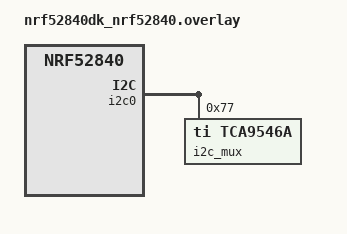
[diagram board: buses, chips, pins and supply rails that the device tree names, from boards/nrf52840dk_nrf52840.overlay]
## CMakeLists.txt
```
# SPDX-License-Identifier: Apache-2.0

cmake_minimum_required(VERSION 3.20.0)
find_package(Zephyr REQUIRED HINTS $ENV{ZEPHYR_BASE})
project(i2c_tca9546a)

FILE(GLOB app_sources src/*.c)
target_sources(app PRIVATE ${app_sources})
```

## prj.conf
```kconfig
CONFIG_ZTEST=y
CONFIG_I2C=y
CONFIG_I2C_TCA9546A=y
```

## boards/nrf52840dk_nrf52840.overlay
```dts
/*
 * Copyright (c) 2020 Teslabs Engineering S.L.
 *
 * SPDX-License-Identifier: Apache-2.0
 */

&i2c0 {
	status = "okay";
	mux: tca9546a@77 {
		compatible = "ti,tca9546a";
		reg = <0x77>;
		status = "okay";
		label = "i2c_mux";
		#address-cells = <1>;
		#size-cells = <0>;

		ch0: mux_i2c@0 {
			label = "mux_dw_0";
			reg = <0>;
			status = "okay";
			#address-cells = <1>;
			#size-cells = <0>;
			compatible = "ti,tca9546a-channel";
		};

		ch1: mux_i2c@1 {
			label = "mux_dw_1";
			reg = <1>;
			status = "okay";
			#address-cells = <1>;
			#size-cells = <0>;
			compatible = "ti,tca9546a-channel";
        };
	};
};

/{
	aliases {
		i2c-channel-0 = &ch0;
		i2c-channel-1 = &ch1;
	};
};
```

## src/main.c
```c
/*
 * Copyright (c) 2016 Intel Corporation
 *
 * SPDX-License-Identifier: Apache-2.0
 */

#include <ztest.h>
#include <device.h>
#include <drivers/i2c.h>

#if DT_NODE_HAS_STATUS(DT_ALIAS(i2c_channel_0), okay)
#define I2C_0_CTRL_NODE_ID      DT_ALIAS(i2c_channel_0)
#define I2C_0_CTRL_DEV_NAME     DT_LABEL(I2C_0_CTRL_NODE_ID)
#else
#error "I2C 0 controller device not found"
#endif

#if DT_NODE_HAS_STATUS(DT_ALIAS(i2c_channel_1), okay)
#define I2C_1_CTRL_NODE_ID      DT_ALIAS(i2c_channel_1)
#define I2C_1_CTRL_DEV_NAME     DT_LABEL(I2C_1_CTRL_NODE_ID)
#else
#error "I2C 1 controller device not found"
#endif




/**
 * @brief Test Asserts
 *
 * This test verifies various assert macros provided by ztest.
 *
 */
static void test_tca9546a(void)
{
	uint8_t buff[1];

	const struct device *i2c0 = DEVICE_DT_GET(I2C_0_CTRL_NODE_ID);
	const struct device *i2c1 = DEVICE_DT_GET(I2C_1_CTRL_NODE_ID);

	zassert_true(device_is_ready(i2c0), "I2C 0 not ready");
	zassert_true(device_is_ready(i2c1), "I2C 1 not ready");

	i2c_read(i2c0, buff, 1, 0x42);
	i2c_read(i2c1, buff, 1, 0x42);
}

void test_main(void)
{
	ztest_test_suite(framework_tests,
			 ztest_unit_test(test_tca9546a)
			 );

	ztest_run_test_suite(framework_tests);
}
```
